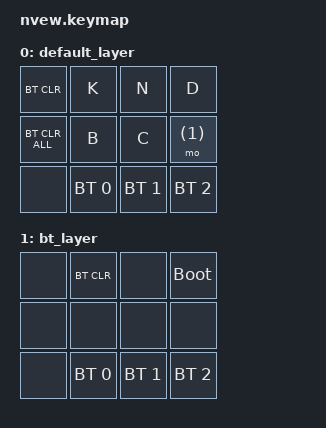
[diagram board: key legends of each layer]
#include <behaviors.dtsi>
#include <dt-bindings/zmk/keys.h>
#include <dt-bindings/zmk/bt.h>

/ {  
    keymap {
        compatible = "zmk,keymap";

        default_layer {
            bindings = <
                &bt BT_CLR          &kp K        &kp N      &kp D    // Row 1: Leftmost key is on the left half, the rest on the right half
                &bt BT_CLR_ALL      &kp B        &kp C      &mo (1)    // Row 2: Leftmost key is on the left half, the rest on the right half
                &none               &bt BT_SEL 0 &bt BT_SEL 1   &bt BT_SEL 2  // Row 3: Left half has no key in this row
            >;
        };

        bt_layer {
            bindings = <
            &none       &bt BT_CLR      &none           &bootloader
            &none       &none           &none           &none
            &none       &bt BT_SEL 0    &bt BT_SEL 1    &bt BT_SEL 2
            >;
        };
    };
};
